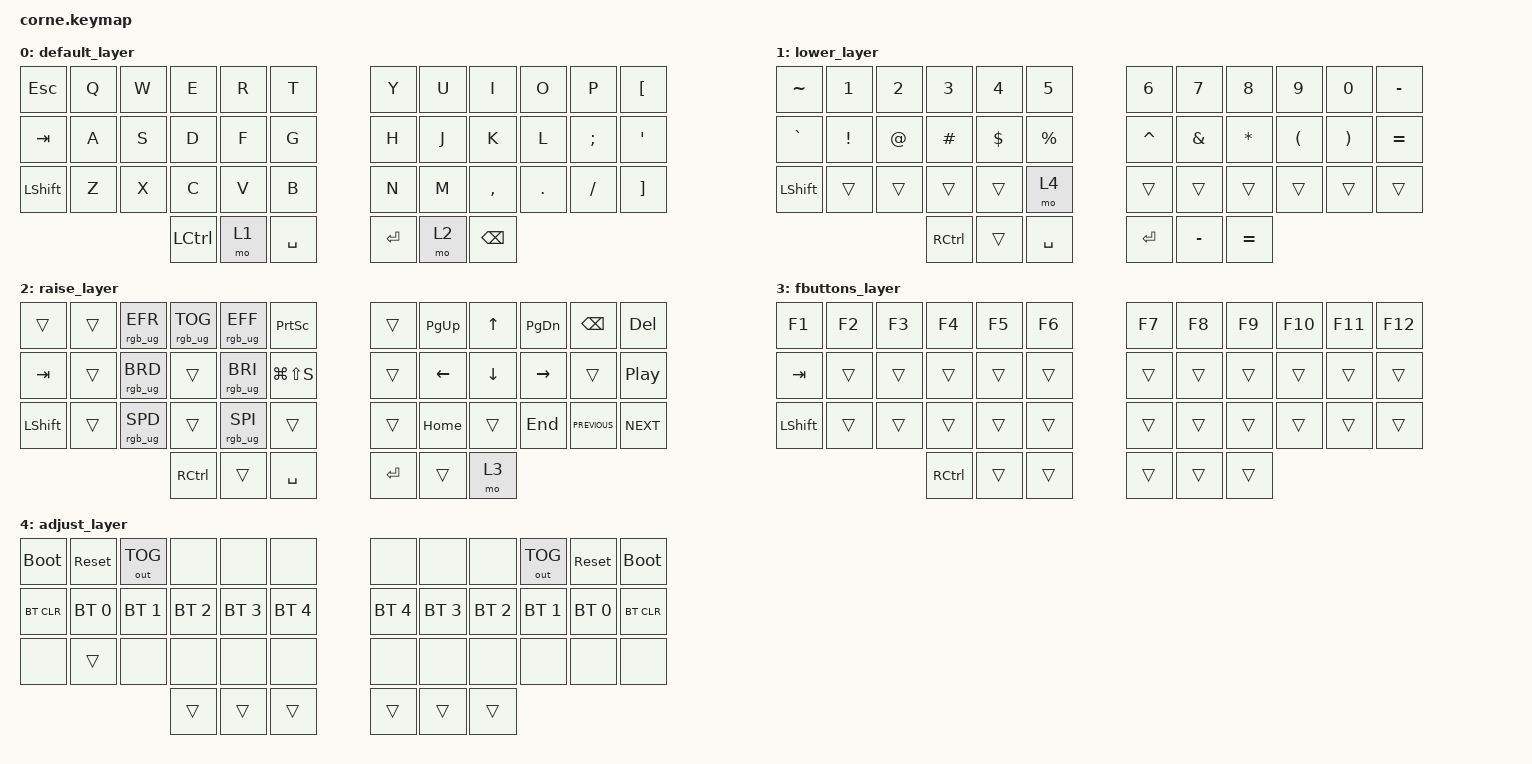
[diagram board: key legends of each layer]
/*
 * Copyright (c) 2020 The ZMK Contributors
 *
 * SPDX-License-Identifier: MIT
 */

#include <behaviors.dtsi>
#include <dt-bindings/zmk/bt.h>
#include <dt-bindings/zmk/keys.h>
#include <dt-bindings/zmk/outputs.h>
#include <dt-bindings/zmk/rgb.h>

#define DEF 0
#define LWR 1
#define RSE 2
#define FLR 3
#define ADJ 4

&lt { quick_tap_ms = <219>; };

&mt { quick_tap_ms = <219>; };

/ {
    behaviors {
        tdF: tap_dance_lang1 {
            compatible = "zmk,behavior-tap-dance";
            #binding-cells = <0>;
            tapping-term-ms = <100>;
            bindings = <&kp F>, <&kp LG(F11)>;
        };

        tdJ: tap_dance_lang2 {
            compatible = "zmk,behavior-tap-dance";
            #binding-cells = <0>;
            tapping-term-ms = <100>;
            bindings = <&kp J>, <&kp LG(F12)>;
        };

        lh_pht: left_positional_hold_tap {
            compatible = "zmk,behavior-hold-tap";
            #binding-cells = <2>;
            flavor = "tap-unless-interrupted";
            tapping-term-ms = <100>;                        // <---[[produces tap if held longer than tapping-term-ms]]
            quick-tap-ms = <200>;
            bindings = <&kp>, <&kp>;

            hold-trigger-key-positions = <0 1 2 3 4 5>;    // <---[[right-hand keys]]
        };
    };

    combos {
        compatible = "zmk,combos";

        ParaLeft {
            bindings = <&kp LEFT_PARENTHESIS>;
            key-positions = <4 5>;
            timeout-ms = <20>;
        };

        ParaRight {
            bindings = <&kp RIGHT_PARENTHESIS>;
            key-positions = <6 7>;
            timeout-ms = <20>;
        };

        BrakLeft {
            bindings = <&kp LEFT_BRACKET>;
            key-positions = <16 17>;
            timeout-ms = <20>;
        };

        BrakRight {
            bindings = <&kp RIGHT_BRACKET>;
            key-positions = <18 19>;
            timeout-ms = <20>;
        };

        BraceLeft {
            bindings = <&kp LEFT_BRACE>;
            key-positions = <28 29>;
            timeout-ms = <20>;
        };

        BraceRight {
            bindings = <&kp RIGHT_BRACE>;
            key-positions = <30 31>;
            timeout-ms = <20>;
        };

        DoubleQuote {
            bindings = <&kp DOUBLE_QUOTES>;
            key-positions = <15 16>;
            timeout-ms = <20>;
        };

        SingleQuote {
            bindings = <&kp APOSTROPHE>;
            key-positions = <19 20>;
            timeout-ms = <20>;
        };

        //LangRu {
        //    bindings = <&kp LG(F11)>;
        //    key-positions = <0 1>;
        //    timeout-ms = <20>;
        //};
        //LangUs {
        //   bindings = <&kp LG(F12)>;
        //    key-positions = <10 11>;
        //    timeout-ms = <20>;
        //};
        //LangRuL {
        //    bindings = <&kp LG(F11)>;
        //    key-positions = <36 38>;
        //    timeout-ms = <20>;
        //};
        //LangUsL {
        //    bindings = <&kp LG(F12)>;
        //    key-positions = <39 41>;
        //    timeout-ms = <20>;
        //};

        TildaSign {
            bindings = <&kp TILDE>;
            key-positions = <0 12>;
            timeout-ms = <20>;
        };

        GraveSign {
            bindings = <&kp GRAVE>;
            key-positions = <12 24>;
            timeout-ms = <20>;
        };

        MinusSign {
            bindings = <&kp MINUS>;
            key-positions = <3 4>;
            timeout-ms = <20>;
        };

        PlusSign {
            bindings = <&kp PLUS>;
            key-positions = <2 3>;
            timeout-ms = <20>;
        };

        UnderscoreSign {
            bindings = <&kp UNDERSCORE>;
            key-positions = <7 8>;
            timeout-ms = <20>;
        };

        PipeSign {
            bindings = <&kp PIPE>;
            key-positions = <8 9>;
            timeout-ms = <20>;
        };
    };
};

/ {
    keymap {
        compatible = "zmk,keymap";

        default_layer {
            bindings = <
&kp ESC    &kp Q  &kp W  &kp E      &kp R  &kp T        &kp Y      &kp U  &kp I          &kp O    &kp P     &kp LEFT_BRACKET
&kp TAB    &kp A  &kp S  &kp D      &kp F  &kp G        &kp H      &kp J  &kp K          &kp L    &kp SEMI  &kp SQT
&kp LSHFT  &kp Z  &kp X  &kp C      &kp V  &kp B        &kp N      &kp M  &kp COMMA      &kp DOT  &kp FSLH  &kp RIGHT_BRACKET
                         &kp LCTRL  &mo 1  &kp SPACE    &kp ENTER  &mo 2  &kp BACKSPACE
            >;
        };

        lower_layer {
            bindings = <
&kp TILDE  &kp N1    &kp N2  &kp N3     &kp N4    &kp N5       &kp N6     &kp N7     &kp N8     &kp N9    &kp N0    &kp MINUS
&kp GRAVE  &kp EXCL  &kp AT  &kp HASH   &kp DLLR  &kp PRCNT    &kp CARET  &kp AMPS   &kp ASTRK  &kp LPAR  &kp RPAR  &kp EQUAL
&kp LSHFT  &trans    &trans  &trans     &trans    &mo 4        &trans     &trans     &trans     &trans    &trans    &trans
                             &kp RCTRL  &trans    &kp SPACE    &kp ENTER  &kp MINUS  &kp EQUAL
            >;
        };

        raise_layer {
            bindings = <
&trans          &trans  &rgb_ug RGB_EFR  &rgb_ug RGB_TOG  &rgb_ug RGB_EFF  &kp PRINTSCREEN    &trans     &kp PG_UP  &kp UP    &kp PG_DN  &kp BACKSPACE   &kp DEL
&kp TAB         &trans  &rgb_ug RGB_BRD  &trans           &rgb_ug RGB_BRI  &kp LG(LS(S))      &trans     &kp LEFT   &kp DOWN  &kp RIGHT  &trans          &kp C_PLAY_PAUSE
&kp LEFT_SHIFT  &trans  &rgb_ug RGB_SPD  &trans           &rgb_ug RGB_SPI  &trans             &trans     &kp HOME   &trans    &kp END    &kp C_PREVIOUS  &kp C_NEXT
                                         &kp RCTRL        &trans           &kp SPACE          &kp ENTER  &trans     &mo 3
            >;
        };

        fbuttons_layer {
            bindings = <
&kp F1          &kp F2  &kp F3  &kp F4     &kp F5  &kp F6    &kp F7  &kp F8  &kp F9  &kp F10  &kp F11  &kp F12
&kp TAB         &trans  &trans  &trans     &trans  &trans    &trans  &trans  &trans  &trans   &trans   &trans
&kp LEFT_SHIFT  &trans  &trans  &trans     &trans  &trans    &trans  &trans  &trans  &trans   &trans   &trans
                                &kp RCTRL  &trans  &trans    &trans  &trans  &trans
            >;
        };

        adjust_layer {
            bindings = <
&bootloader  &sys_reset    &out OUT_TOG  &none         &none         &none           &none         &none         &none         &out OUT_TOG  &sys_reset    &bootloader
&bt BT_CLR   &bt BT_SEL 0  &bt BT_SEL 1  &bt BT_SEL 2  &bt BT_SEL 3  &bt BT_SEL 4    &bt BT_SEL 4  &bt BT_SEL 3  &bt BT_SEL 2  &bt BT_SEL 1  &bt BT_SEL 0  &bt BT_CLR
&none        &trans        &none         &none         &none         &none           &none         &none         &none         &none         &none         &none
                                         &trans        &trans        &trans          &trans        &trans        &trans
            >;
        };
    };
};
